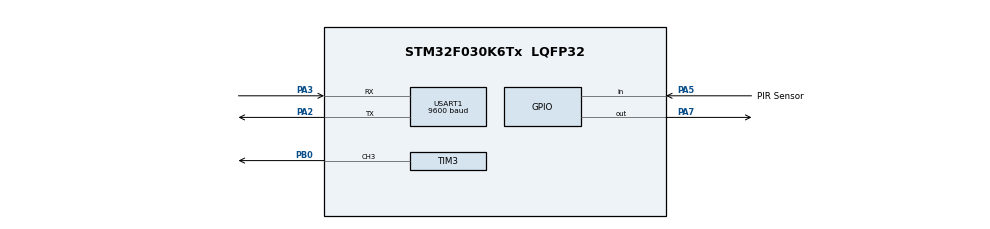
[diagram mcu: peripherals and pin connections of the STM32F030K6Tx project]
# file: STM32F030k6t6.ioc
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Mcu.Family=STM32F0
Mcu.Name=STM32F030K6Tx
Mcu.Package=LQFP32
NVIC.USART1_IRQn=true\:0\:0\:false\:false\:true
PA13.Mode=Serial_Wire
PA13.Signal=SYS_SWDIO
PA14.Mode=Serial_Wire
PA14.Signal=SYS_SWCLK
PA2.Mode=Asynchronous
PA2.Signal=USART1_TX
PA3.Mode=Asynchronous
PA3.Signal=USART1_RX
PA5.GPIO_Label=PIR Sensor
PA5.GPIO_PuPd=GPIO_PULLDOWN
PA5.Signal=GPIO_Input
PA7.Signal=GPIO_Output
PB0.Signal=S_TIM3_CH3
ProjectManager.HeapSize=0x200
ProjectManager.StackSize=0x400
ProjectManager.TargetToolchain=EWARM
SH.S_TIM3_CH3.0=TIM3_CH3,PWM Generation3 CH3
TIM3.Channel-Input_Capture3_from_TI3=TIM_CHANNEL_3
TIM3.Channel-PWM\ Generation3\ CH3=TIM_CHANNEL_3
TIM3.Period=239
TIM3.Prescaler=99
USART1.BaudRate=9600
VP_TIM3_VS_ClockSourceINT.Mode=Internal
board=STM32F030k6t6

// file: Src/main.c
/**
  ******************************************************************************
  * File Name          : main.c
  * Description        : Main program body
  ******************************************************************************
  *
  * COPYRIGHT(c) 2019 STMicroelectronics
  *
  * Redistribution and use in source and binary forms, with or without modification,
  * are permitted provided that the following conditions are met:
  *   1. Redistributions of source code must retain the above copyright notice,
  *      this list of conditions and the following disclaimer.
  *   2. Redistributions in binary form must reproduce the above copyright notice,
  *      this list of conditions and the following disclaimer in the documentation
  *      and/or other materials provided with the distribution.
  *   3. Neither the name of STMicroelectronics nor the names of its contributors
  *      may be used to endorse or promote products derived from this software
  *      without specific prior written permission.
  *
  * THIS SOFTWARE IS PROVIDED BY THE COPYRIGHT HOLDERS AND CONTRIBUTORS "AS IS"
  * AND ANY EXPRESS OR IMPLIED WARRANTIES, INCLUDING, BUT NOT LIMITED TO, THE
  * IMPLIED WARRANTIES OF MERCHANTABILITY AND FITNESS FOR A PARTICULAR PURPOSE ARE
  * DISCLAIMED. IN NO EVENT SHALL THE COPYRIGHT HOLDER OR CONTRIBUTORS BE LIABLE
  * FOR ANY DIRECT, INDIRECT, INCIDENTAL, SPECIAL, EXEMPLARY, OR CONSEQUENTIAL
  * DAMAGES (INCLUDING, BUT NOT LIMITED TO, PROCUREMENT OF SUBSTITUTE GOODS OR
  * SERVICES; LOSS OF USE, DATA, OR PROFITS; OR BUSINESS INTERRUPTION) HOWEVER
  * CAUSED AND ON ANY THEORY OF LIABILITY, WHETHER IN CONTRACT, STRICT LIABILITY,
  * OR TORT (INCLUDING NEGLIGENCE OR OTHERWISE) ARISING IN ANY WAY OUT OF THE USE
  * OF THIS SOFTWARE, EVEN IF ADVISED OF THE POSSIBILITY OF SUCH DAMAGE.
  *
  ******************************************************************************
  */
#include "main.h"
#include "stm32f0xx_hal.h"

/* USER CODE BEGIN Includes */
#include "stm32_hal_legacy.h"
#include "stdbool.h"
#include "stdio.h"
#include "string.h"
#include "stdlib.h"
/* USER CODE END Includes */

TIM_HandleTypeDef htim3;

UART_HandleTypeDef huart1;

/* USER CODE BEGIN PV */
/* Private variables ---------------------------------------------------------*/

/* USER CODE END PV */

void SystemClock_Config(void);
void Error_Handler(void);
static void MX_GPIO_Init(void);
static void MX_USART1_UART_Init(void);
static void MX_TIM3_Init(void);
void HAL_TIM_MspPostInit(TIM_HandleTypeDef *htim);

/* USER CODE BEGIN PFP */
/* Private function prototypes -----------------------------------------------*/
int parse_int (char in[]);
/* USER CODE END PFP */

/* USER CODE BEGIN 0 */
  char input[3]; //Variable for input data from bluetooth module.
  bool PIR = false; //PIR data. it'll be 1 only if something move in the environment. Otherwise it'll be 0.
  bool state = false; //State of lamp based on the command the user has sent. it's on or off. if it set on "off", although PIR data was 1 but the lamp is still off.
  int intensity = 0; //Varialble for setting lamp's intensity up. it's just one digit from 0 to 9.
  int pwm = 0; //Varialble for setting lamp's intensity up. it's equal to 'intensity' * 20.
  int time = 0; //The amount of time that lamp will become on.
  char tmp_T[2]; //Temporary variable for detecting user command.
  char tmp_I [1]; //Temporary variable for detecting user command.

void HAL_UART_RxCpltCallback(UART_HandleTypeDef *huart)
{
  if(strcmp(input , "Lon") == 0) //turn on the lamp
  {
    state = true;
  }
  else if (strcmp(input , "Lof") == 0) //turn off the lamp
  {
    state = false;
  }

  if(input[0] == 'T') // user set the staying time of lamp. After this specific time, lamp will turn off.
  {

      tmp_T[0] = input[1];
      tmp_T[1] = input[2];
      time = strtol(tmp_T , NULL , 10);
      char message_T[] = "Time is set to ";
      strcat(message_T , tmp_T);
      char line[] = "\n";
      HAL_UART_Transmit(&huart1 , message_T , 17 , 100); // 17 is the length of 'message_T' variable. you can use 'strlen' function instead.
      HAL_UART_Transmit(&huart1 , line, 1 , 100);
  }
  else if(input[0]=='I' && input[1]=='n') //user change the intensity of lamp.
  {

      tmp_I[0] = input[2];
      const char *a = "23";
      intensity = strtol(tmp_I , NULL , 10);
      char message_I[] = "Intensity is set to ";

      strcat(message_I , tmp_I);
      HAL_UART_Transmit(&huart1 , message_I , 21 , 100); //21 is the length of 'message_I' variable. you can use 'strlen' function instead.
      char line[] = "\n";
      HAL_UART_Transmit(&huart1 , line, 1 , 100);
  }

  /* NOTE : This function should not be modified, when the callback is needed,
            the HAL_UART_TxCpltCallback can be implemented in the user file.
   */
}

/* USER CODE END 0 */

int main(void)
{

  /* MCU Configuration----------------------------------------------------------*/

  /* Reset of all peripherals, Initializes the Flash interface and the Systick. */
  HAL_Init();

  /* Configure the system clock */
  SystemClock_Config();

  /* Initialize all configured peripherals */
  MX_GPIO_Init();
  MX_USART1_UART_Init();
  MX_TIM3_Init();

  /* USER CODE BEGIN 2 */

  //start TIM_PWM to set the inensity of lamp.
  HAL_TIM_PWM_Start(&htim3, TIM_CHANNEL_3);

  /* USER CODE END 2 */

  /* Infinite loop */
  while (1)
  {

  /* USER CODE BEGIN 3 */
    HAL_UART_Receive_IT(&huart1 ,(uint8_t *)input , 3);

    //Read data from PIR sensor data.
    PIR = HAL_GPIO_ReadPin(GPIOA,GPIO_PIN_5);

    //The Lamp should trun on only if (PIR sensor detect any move) and (user has sent "Lon" command)
    if(state == true && PIR == 1)  // the lamp is on.
    {
      //'pwm' variable determine the intensity of lamp Depending on the digit that user has sent
      //The digit that user has sent, store in 'intensity' variable.commands for changing the intensity are "In0","In1","In2",...,"In9".
      //for example, if user had sent the command "Lon" and then sent "In5", the 'state' variable is equal to 1 and 'intensity' variable is equal to 5.Also the LED will bright half of its potential (50%).
      pwm = intensity * 20;
    }
    else if (state == false || PIR == 0) //the lamp is off
    {
      pwm = 0;
    }
    __HAL_TIM_SetCompare(&htim3, TIM_CHANNEL_3, pwm); //update 'pwm' value
    if(state == true && PIR == 1)
    {
     HAL_Delay(time*120);
    }

  }
  /* USER CODE END 3 */

}

/** System Clock Configuration
*/
void SystemClock_Config(void)
{

  RCC_OscInitTypeDef RCC_OscInitStruct;
  RCC_ClkInitTypeDef RCC_ClkInitStruct;
  RCC_PeriphCLKInitTypeDef PeriphClkInit;

    /**Initializes the CPU, AHB and APB busses clocks
    */
  RCC_OscInitStruct.OscillatorType = RCC_OSCILLATORTYPE_HSI;
  RCC_OscInitStruct.HSIState = RCC_HSI_ON;
  RCC_OscInitStruct.HSICalibrationValue = 16;
  RCC_OscInitStruct.PLL.PLLState = RCC_PLL_NONE;
  if (HAL_RCC_OscConfig(&RCC_OscInitStruct) != HAL_OK)
  {
    Error_Handler();
  }

    /**Initializes the CPU, AHB and APB busses clocks
    */
  RCC_ClkInitStruct.ClockType = RCC_CLOCKTYPE_HCLK|RCC_CLOCKTYPE_SYSCLK
                              |RCC_CLOCKTYPE_PCLK1;
  RCC_ClkInitStruct.SYSCLKSource = RCC_SYSCLKSOURCE_HSI;
  RCC_ClkInitStruct.AHBCLKDivider = RCC_SYSCLK_DIV1;
  RCC_ClkInitStruct.APB1CLKDivider = RCC_HCLK_DIV1;

  if (HAL_RCC_ClockConfig(&RCC_ClkInitStruct, FLASH_LATENCY_0) != HAL_OK)
  {
    Error_Handler();
  }

  PeriphClkInit.PeriphClockSelection = RCC_PERIPHCLK_USART1;
  PeriphClkInit.Usart1ClockSelection = RCC_USART1CLKSOURCE_PCLK1;
  if (HAL_RCCEx_PeriphCLKConfig(&PeriphClkInit) != HAL_OK)
  {
    Error_Handler();
  }

    /**Configure the Systick interrupt time
    */
  HAL_SYSTICK_Config(HAL_RCC_GetHCLKFreq()/1000);

    /**Configure the Systick
    */
  HAL_SYSTICK_CLKSourceConfig(SYSTICK_CLKSOURCE_HCLK);

  /* SysTick_IRQn interrupt configuration */
  HAL_NVIC_SetPriority(SysTick_IRQn, 0, 0);
}

/* TIM3 init function */
static void MX_TIM3_Init(void)
{

  TIM_ClockConfigTypeDef sClockSourceConfig;
  TIM_MasterConfigTypeDef sMasterConfig;
  TIM_OC_InitTypeDef sConfigOC;

  htim3.Instance = TIM3;
  htim3.Init.Prescaler = 99;
  htim3.Init.CounterMode = TIM_COUNTERMODE_UP;
  htim3.Init.Period = 239;
  htim3.Init.ClockDivision = TIM_CLOCKDIVISION_DIV1;
  htim3.Init.AutoReloadPreload = TIM_AUTORELOAD_PRELOAD_DISABLE;
  if (HAL_TIM_Base_Init(&htim3) != HAL_OK)
  {
    Error_Handler();
  }

  sClockSourceConfig.ClockSource = TIM_CLOCKSOURCE_INTERNAL;
  if (HAL_TIM_ConfigClockSource(&htim3, &sClockSourceConfig) != HAL_OK)
  {
    Error_Handler();
  }

  if (HAL_TIM_PWM_Init(&htim3) != HAL_OK)
  {
    Error_Handler();
  }

  sMasterConfig.MasterOutputTrigger = TIM_TRGO_RESET;
  sMasterConfig.MasterSlaveMode = TIM_MASTERSLAVEMODE_DISABLE;
  if (HAL_TIMEx_MasterConfigSynchronization(&htim3, &sMasterConfig) != HAL_OK)
  {
    Error_Handler();
  }

  sConfigOC.OCMode = TIM_OCMODE_PWM1;
  sConfigOC.Pulse = 0;
  sConfigOC.OCPolarity = TIM_OCPOLARITY_HIGH;
  sConfigOC.OCFastMode = TIM_OCFAST_DISABLE;
  if (HAL_TIM_PWM_ConfigChannel(&htim3, &sConfigOC, TIM_CHANNEL_3) != HAL_OK)
  {
    Error_Handler();
  }

  HAL_TIM_MspPostInit(&htim3);

}

/* USART1 init function */
static void MX_USART1_UART_Init(void)
{

  huart1.Instance = USART1;
  huart1.Init.BaudRate = 9600;
  huart1.Init.WordLength = UART_WORDLENGTH_8B;
  huart1.Init.StopBits = UART_STOPBITS_1;
  huart1.Init.Parity = UART_PARITY_NONE;
  huart1.Init.Mode = UART_MODE_TX_RX;
  huart1.Init.HwFlowCtl = UART_HWCONTROL_NONE;
  huart1.Init.OverSampling = UART_OVERSAMPLING_16;
  huart1.Init.OneBitSampling = UART_ONE_BIT_SAMPLE_DISABLE;
  huart1.AdvancedInit.AdvFeatureInit = UART_ADVFEATURE_NO_INIT;
  if (HAL_UART_Init(&huart1) != HAL_OK)
  {
    Error_Handler();
  }

}

/** Configure pins as
        * Analog
        * Input
        * Output
        * EVENT_OUT
        * EXTI
*/
static void MX_GPIO_Init(void)
{

  GPIO_InitTypeDef GPIO_InitStruct;

  /* GPIO Ports Clock Enable */
  __HAL_RCC_GPIOA_CLK_ENABLE();
  __HAL_RCC_GPIOB_CLK_ENABLE();

  /*Configure GPIO pin Output Level */
  HAL_GPIO_WritePin(GPIOA, GPIO_PIN_7, GPIO_PIN_RESET);

  /*Configure GPIO pin : PIR_Sensor_Pin */
  GPIO_InitStruct.Pin = PIR_Sensor_Pin;
  GPIO_InitStruct.Mode = GPIO_MODE_INPUT;
  GPIO_InitStruct.Pull = GPIO_PULLDOWN;
  HAL_GPIO_Init(PIR_Sensor_GPIO_Port, &GPIO_InitStruct);

  /*Configure GPIO pin : PA7 */
  GPIO_InitStruct.Pin = GPIO_PIN_7;
  GPIO_InitStruct.Mode = GPIO_MODE_OUTPUT_PP;
  GPIO_InitStruct.Pull = GPIO_NOPULL;
  GPIO_InitStruct.Speed = GPIO_SPEED_FREQ_LOW;
  HAL_GPIO_Init(GPIOA, &GPIO_InitStruct);

}

void Error_Handler(void)
{
  while(1)
  {
  }
}

/************************ (C) COPYRIGHT STMicroelectronics *****END OF FILE****/
